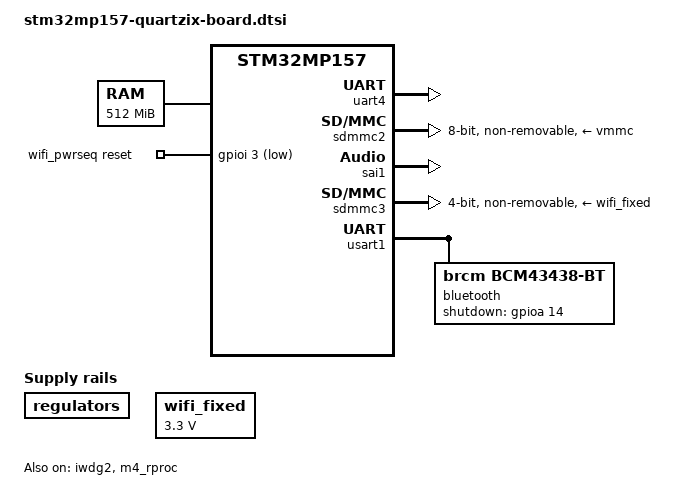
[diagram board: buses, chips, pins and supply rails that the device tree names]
// SPDX-License-Identifier: (GPL-2.0+ OR BSD-3-Clause)
/*
 * Copyright (C) STMicroelectronics 2019 - All Rights Reserved
 * Author: Alexandre Torgue <alexandre.torgue@st.com> for STMicroelectronics.
 */
#include "stm32mp157-m4-srm.dtsi"
#include "stm32mp157-m4-srm-pinctrl.dtsi"
#include <dt-bindings/mfd/st,stpmic1.h>
#include <dt-bindings/rtc/rtc-stm32.h>
#include <dt-bindings/input/input.h>
#include <dt-bindings/usb/pd.h>

/ {
	/* Add aliases to fix device mapping */
	aliases {
		mmc1 = &sdmmc2;  /* eMMC → mmcblk1 (SDMMC3/WiFi probes first as mmc0) */
	};
	memory@c0000000 {
		device_type = "memory";
		reg = <0xc0000000 0x20000000>;
	};
	reserved-memory {
		#address-cells = <1>;
		#size-cells = <1>;
		ranges;

		mcuram2: mcuram2@10000000 {
			compatible = "shared-dma-pool";
			reg = <0x10000000 0x40000>;
			no-map;
		};

		vdev0vring0: vdev0vring0@10040000 {
			compatible = "shared-dma-pool";
			reg = <0x10040000 0x1000>;
			no-map;
		};

		vdev0vring1: vdev0vring1@10041000 {
			compatible = "shared-dma-pool";
			reg = <0x10041000 0x1000>;
			no-map;
		};

		vdev0buffer: vdev0buffer@10042000 {
			compatible = "shared-dma-pool";
			reg = <0x10042000 0x4000>;
			no-map;
		};

		mcuram: mcuram@30000000 {
			compatible = "shared-dma-pool";
			reg = <0x30000000 0x40000>;
			no-map;
		};

		retram: retram@38000000 {
			compatible = "shared-dma-pool";
			reg = <0x38000000 0x10000>;
			no-map;
		};
	};

	regulators {
			compatible = "regulator-gpio";
			ldo1-supply = <&v3v3>;
			ldo3-supply = <&vdd_ddr>;
			ldo6-supply = <&v3v3>;
			pwr_sw1-supply = <&bst_out>;
			pwr_sw2-supply = <&bst_out>;
			
			vddcore: buck1 {
				regulator-name = "vddcore";
				regulator-min-microvolt = <1200000>;
				regulator-max-microvolt = <1350000>;
				regulator-always-on;
				regulator-initial-mode = <0>;
				regulator-over-current-protection;
			};

			vdd_ddr: buck2 {
				regulator-name = "vdd_ddr";
				regulator-min-microvolt = <1350000>;
				regulator-max-microvolt = <1350000>;
				regulator-always-on;
				regulator-initial-mode = <0>;
				regulator-over-current-protection;
			};

			vdd: buck3 {
				regulator-name = "vdd";
				regulator-min-microvolt = <3300000>;
				regulator-max-microvolt = <3300000>;
				regulator-always-on;
				st,mask-reset;
				regulator-initial-mode = <0>;
				regulator-over-current-protection;
			};

			v3v3: buck4 {
				regulator-name = "v3v3";
				regulator-min-microvolt = <3300000>;
				regulator-max-microvolt = <3300000>;
				regulator-always-on;
				regulator-over-current-protection;
				regulator-initial-mode = <0>;
			};


			vtt_ddr: ldo3 {
				regulator-name = "vtt_ddr";
				regulator-min-microvolt = <500000>;
				regulator-max-microvolt = <750000>;
				regulator-always-on;
				regulator-over-current-protection;
			};
			vdda: ldo5 {
				regulator-name = "vdda";
				regulator-min-microvolt = <2900000>;
				regulator-max-microvolt = <2900000>;
				//interrupts = <IT_CURLIM_LDO5 0>;
				regulator-boot-on;
			};


			vref_ddr: vref_ddr {
				regulator-name = "vref_ddr";
				regulator-always-on;
				regulator-over-current-protection;
			};

			 bst_out: boost {
				regulator-name = "bst_out";
				//interrupts = <IT_OCP_BOOST 0>;
			 };

			vbus_otg: pwr_sw1 {
				regulator-name = "vbus_otg";
				//interrupts = <IT_OCP_OTG 0>;
			 };

			 vbus_sw: pwr_sw2 {
				regulator-name = "vbus_sw";
				//interrupts = <IT_OCP_SWOUT 0>;
				regulator-active-discharge = <1>;
			 };
	};

	wifi_fixed: fixedregulator@1 {
		pinctrl-names = "default";
		pinctrl-0 = <&wifi_fixed_pins_a>;
		compatible = "regulator-fixed";
		regulator-name = "wifi_fixed";
		regulator-min-microvolt = <3300000>;
		regulator-max-microvolt = <3300000>;
		startup-delay-us = <70000>;
		regulator-boot-on;
		regulator-pull-down;
	};

	wifi_pwrseq: wifi-pwrseq {
		compatible = "mmc-pwrseq-simple";
		reset-gpios = <&gpioi 3 GPIO_ACTIVE_LOW>;
		post-power-on-delay-ms = <150>;
	};
};

&cpu0{
	cpu-supply = <&vddcore>;
};

/* DEBUG UART Configuration */
&uart4 {
	pinctrl-names = "default", "sleep", "idle";
	pinctrl-0 = <&uart4_pins_a>;
	pinctrl-1 = <&uart4_sleep_pins_a>;
	pinctrl-2 = <&uart4_idle_pins_a>;
	pinctrl-3 = <&uart4_pins_a>;
	/delete-property/dmas;
	/delete-property/dma-names;
	status = "okay";
};

/* eMMC Configuration */
&sdmmc2 {
        pinctrl-names = "default", "opendrain", "sleep";
        pinctrl-0 = <&sdmmc2_b4_pins_a &sdmmc2_d47_pins_a>;
        pinctrl-1 = <&sdmmc2_b4_od_pins_a &sdmmc2_d47_pins_a>;
        pinctrl-2 = <&sdmmc2_b4_sleep_pins_a &sdmmc2_d47_sleep_pins_a>;
        non-removable;
        no-sd;
        no-sdio;
        st,dirpol;
        st,negedge;
        bus-width = <8>;
        vmmc-supply = <&vmmc>;
        vqmmc-supply = <&vmmc>;
        status = "okay";
};

/* Enable required GPIO banks */
&gpioa { status = "okay"; };  /* UART4 (A11,A12) + SDMMC2 (A8,A9) */
&gpiob { status = "okay"; };  /* SDMMC2 (B3,B4,B14,B15) */
&gpioc { status = "okay"; };  /* System functions may need this */
&gpiod { status = "okay"; };  /* SDMMC2 (D3) */
&gpioe { status = "okay"; };  /* SDMMC2 (E3,E5) */
&gpiof { status = "okay"; };  /* System functions may need this */
&gpiog { status = "okay"; };  /* SDMMC2 (G6) */
/* Optional GPIO banks - can be disabled if confirmed unused */
&gpioh { status = "okay"; };
&gpioi { status = "okay"; };
&gpioj { status = "okay"; };
&gpiok { status = "okay"; };
&pinctrl_z { status = "okay"; };

/* Watchdog configuration */
&iwdg2 {
	timeout-sec = <32>;  /* 32 seconds timeout */
	status = "okay";
};

/* wakeup-source arms ipcc->irqs[IPCC_IRQ_RX] via dev_pm_set_wake_irq()
 * (stm32-ipcc.c). Without it, the M4's rpmsg WAKE message reaches this
 * IRQ line but s2idle never rouses the CPU for it — m4_rproc's own
 * "wakeup-source"/EXTI 68 only arms the M4 watchdog IRQ (stm32_rproc.c
 * names it wdg_irq), unrelated to rpmsg traffic. */
&ipcc {
	status = "okay";
	wakeup-source;
};

/* DMA1 is exclusively driven by the M4 firmware (DMA1_Stream0/1, circular
 * mode, for continuous SAI1 audio capture — see stm32mp1xx_hal_msp.c) and
 * never releases channel 0's EN bit. If Linux also probes dma1, its s2idle
 * suspend hook does a raw register scan of all 8 channels and permanently
 * sees channel 0 busy, aborting suspend with "Suspend is prevented by Chan
 * 0". Disable it for Linux; dmamux1 falls back to dma2 for any CA7 client
 * (currently only the unused sai1a playback path). */
&dma1 {
	status = "disabled";
};

&dmamux1 {
	dma-masters = <&dma2>;
	dma-channels = <8>;
};

/* SAI1_K clock config: set PLL3_Q as source via m4_rproc assigned-clocks.
 * m4_rproc driver always probes, so clk_set_defaults() is guaranteed to run.
 * SAI1_K = PLL3_Q ~24.576MHz → MCLK = 24.576MHz/2 = 12.288MHz = 256*48kHz */
&sai1 {
	clocks = <&rcc SAI1>, <&rcc PLL3_Q>, <&rcc PLL3_R>;
	clock-names = "pclk", "x8k", "x11k";
	status = "okay";
};
&m4_rproc {
    compatible = "st,stm32mp1-m4";

    resets = <&scmi0_reset RST_SCMI0_MCU>, <&scmi0_reset RST_SCMI0_MCU_HOLD_BOOT>;
    reset-names = "mcu_rst", "hold_boot";

    memory-region = <&retram>, <&mcuram>, <&mcuram2>,
                    <&vdev0vring0>, <&vdev0vring1>, <&vdev0buffer>;
    mboxes = <&ipcc 0>, <&ipcc 1>, <&ipcc 2>;
    mbox-names = "vq0", "vq1", "shutdown";
    interrupt-parent = <&exti>;
    interrupts = <68 1>;
    wakeup-source;
    status = "okay";

    assigned-clocks = <&rcc SAI1_K>;
    assigned-clock-parents = <&rcc PLL3_Q>;

    m4_system_resources {
        m4_led: m4_led {
            compatible = "rproc-srm-dev";
            pinctrl-names = "default";
            pinctrl-0 = <&m4_led_pa10_pins>;
            status = "okay";
        };
    };
};

/* WiFi - BCM43438 via SDIO (SDMMC3) */
&sdmmc3 {
	arm,primecell-periphid = <0x10153180>;
	pinctrl-names = "default", "opendrain", "sleep";
	pinctrl-0 = <&sdmmc3_b4_pins_a>;
	pinctrl-1 = <&sdmmc3_b4_od_pins_a>;
	pinctrl-2 = <&sdmmc3_b4_sleep_pins_a>;
	non-removable;
	st,neg-edge;
	bus-width = <4>;
	vmmc-supply = <&wifi_fixed>;
	mmc-pwrseq = <&wifi_pwrseq>;
	#address-cells = <1>;
	#size-cells = <0>;
	keep-power-in-suspend;
	max-frequency = <25000000>;
	status = "okay";
};

/* Bluetooth - BCM43438 via UART (USART1) */
&usart1 {
	pinctrl-names = "default", "sleep", "idle";
	pinctrl-0 = <&usart1_pins_z_mx>;
	pinctrl-1 = <&usart1_sleep_pins_z_mx>;
	pinctrl-2 = <&usart1_idle_pins_z_mx>;
	uart-has-rtscts;
	status = "okay";

	bluetooth {
		shutdown-gpios = <&gpioa 14 GPIO_ACTIVE_HIGH>;
		compatible = "brcm,bcm43438-bt";
		max-speed = <3000000>;
	};
};

